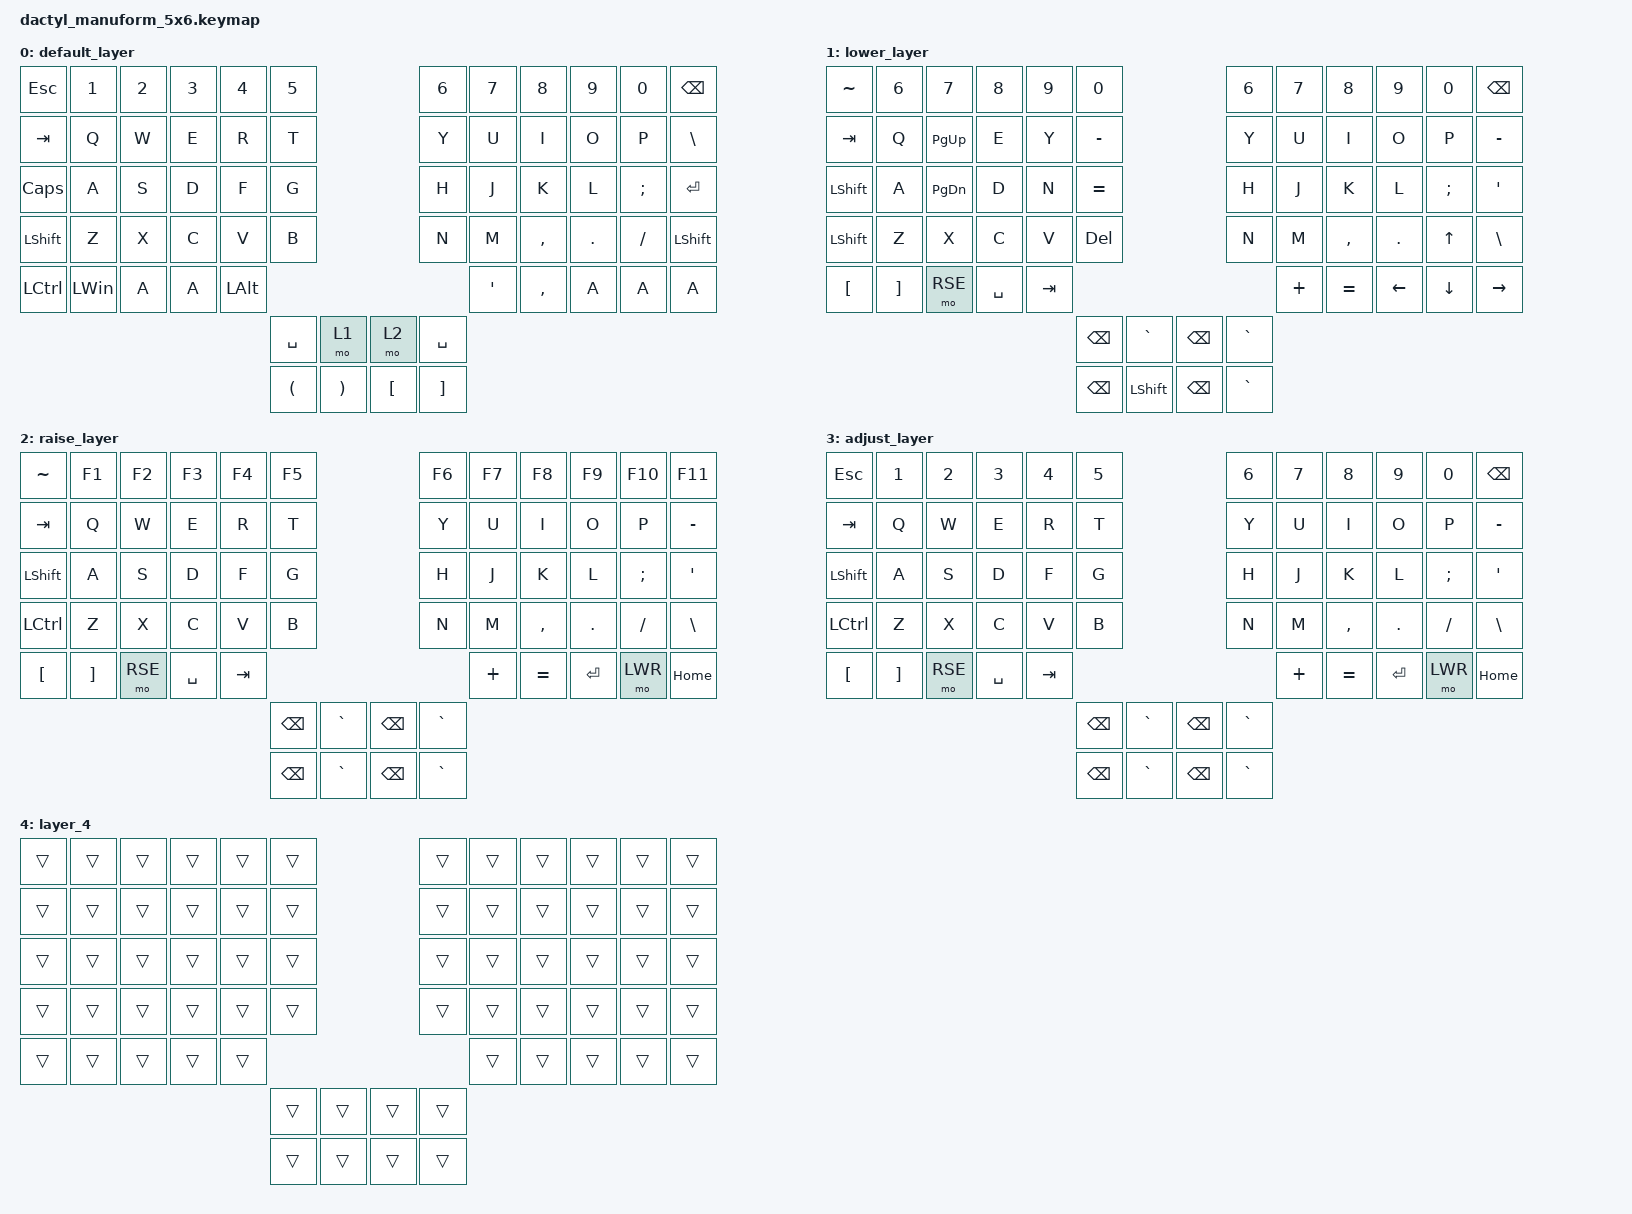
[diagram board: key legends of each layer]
#include <behaviors.dtsi>
#include <dt-bindings/zmk/keys.h>

#define DEFAULT 0
#define LWR 1
#define RSE 2
#define ADJ 3

/ {
    keymap {
        compatible = "zmk,keymap";

        default_layer {
            bindings = <
&kp ESC           &kp N1        &kp N2  &kp N3  &kp N4        &kp N5                                              &kp N6             &kp N7    &kp N8     &kp N9   &kp N0     &kp BSPC
&kp TAB           &kp Q         &kp W   &kp E   &kp R         &kp T                                               &kp Y              &kp U     &kp I      &kp O    &kp P      &kp BACKSLASH
&kp CAPS          &kp A         &kp S   &kp D   &kp F         &kp G                                               &kp H              &kp J     &kp K      &kp L    &kp SEMI   &kp ENTER
&kp LEFT_SHIFT    &kp Z         &kp X   &kp C   &kp V         &kp B                                               &kp N              &kp M     &kp COMMA  &kp DOT  &kp SLASH  &kp LEFT_SHIFT
&kp LEFT_CONTROL  &kp LEFT_WIN  &kp A   &kp A   &kp LEFT_ALT                                                                         &kp APOS  &kp COMMA  &kp A    &kp A      &kp A
                                                              &kp SPACE  &mo 1                  &mo 2             &kp SPACE
                                                              &kp LPAR   &kp RIGHT_PARENTHESIS  &kp LEFT_BRACKET  &kp RIGHT_BRACKET
            >;
        };

        lower_layer {
            bindings = <
&kp TILDE       &kp NUMBER_6  &kp N7         &kp N8     &kp N9   &kp N0                               &kp N6     &kp N7    &kp N8     &kp N9          &kp N0          &kp BSPC
&kp TAB         &kp Q         &kp PAGE_UP    &kp E      &kp Y    &kp MINUS                            &kp Y      &kp U     &kp I      &kp O           &kp P           &kp MINUS
&kp LSHFT       &kp A         &kp PAGE_DOWN  &kp D      &kp N    &kp EQUAL                            &kp H      &kp J     &kp K      &kp L           &kp SEMI        &kp SQT
&kp LEFT_SHIFT  &kp Z         &kp X          &kp C      &kp V    &kp DEL                              &kp N      &kp M     &kp COMMA  &kp DOT         &kp UP_ARROW    &kp BSLH
&kp LBKT        &kp RBKT      &mo RSE        &kp SPACE  &kp TAB                                                  &kp PLUS  &kp EQUAL  &kp LEFT_ARROW  &kp DOWN_ARROW  &kp RIGHT
                                                                 &kp BSPC   &kp GRAVE       &kp BSPC  &kp GRAVE
                                                                 &kp BSPC   &kp LEFT_SHIFT  &kp BSPC  &kp GRAVE
            >;
        };

        raise_layer {
            bindings = <
&kp TILDE  &kp F1    &kp F2   &kp F3     &kp F4   &kp F5                         &kp F6     &kp F7    &kp F8     &kp F9   &kp F10   &kp F11
&kp TAB    &kp Q     &kp W    &kp E      &kp R    &kp T                          &kp Y      &kp U     &kp I      &kp O    &kp P     &kp MINUS
&kp LSHFT  &kp A     &kp S    &kp D      &kp F    &kp G                          &kp H      &kp J     &kp K      &kp L    &kp SEMI  &kp SQT
&kp LCTRL  &kp Z     &kp X    &kp C      &kp V    &kp B                          &kp N      &kp M     &kp COMMA  &kp DOT  &kp FSLH  &kp BSLH
&kp LBKT   &kp RBKT  &mo RSE  &kp SPACE  &kp TAB                                            &kp PLUS  &kp EQUAL  &kp RET  &mo LWR   &kp HOME
                                                  &kp BSPC  &kp GRAVE  &kp BSPC  &kp GRAVE
                                                  &kp BSPC  &kp GRAVE  &kp BSPC  &kp GRAVE
            >;
        };

        adjust_layer {
            bindings = <
&kp ESC    &kp N1    &kp N2   &kp N3     &kp N4   &kp N5                         &kp N6     &kp N7    &kp N8     &kp N9   &kp N0    &kp BSPC
&kp TAB    &kp Q     &kp W    &kp E      &kp R    &kp T                          &kp Y      &kp U     &kp I      &kp O    &kp P     &kp MINUS
&kp LSHFT  &kp A     &kp S    &kp D      &kp F    &kp G                          &kp H      &kp J     &kp K      &kp L    &kp SEMI  &kp SQT
&kp LCTRL  &kp Z     &kp X    &kp C      &kp V    &kp B                          &kp N      &kp M     &kp COMMA  &kp DOT  &kp FSLH  &kp BSLH
&kp LBKT   &kp RBKT  &mo RSE  &kp SPACE  &kp TAB                                            &kp PLUS  &kp EQUAL  &kp RET  &mo LWR   &kp HOME
                                                  &kp BSPC  &kp GRAVE  &kp BSPC  &kp GRAVE
                                                  &kp BSPC  &kp GRAVE  &kp BSPC  &kp GRAVE
            >;
        };

        layer_4 {
            bindings = <
&trans  &trans  &trans  &trans  &trans  &trans                  &trans  &trans  &trans  &trans  &trans  &trans
&trans  &trans  &trans  &trans  &trans  &trans                  &trans  &trans  &trans  &trans  &trans  &trans
&trans  &trans  &trans  &trans  &trans  &trans                  &trans  &trans  &trans  &trans  &trans  &trans
&trans  &trans  &trans  &trans  &trans  &trans                  &trans  &trans  &trans  &trans  &trans  &trans
&trans  &trans  &trans  &trans  &trans                                  &trans  &trans  &trans  &trans  &trans
                                        &trans  &trans  &trans  &trans
                                        &trans  &trans  &trans  &trans
            >;
        };
    };
};
